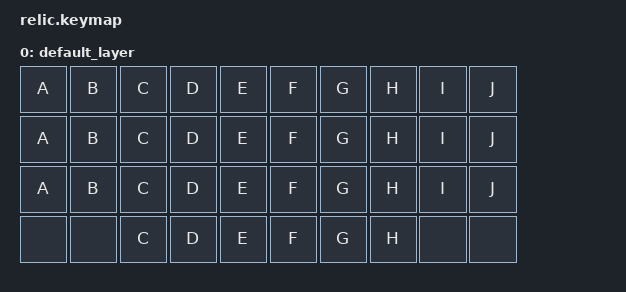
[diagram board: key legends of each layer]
// This file was generated from a template. Edit it to match your keyboard.
// See https://zmk.dev/docs/development/hardware-integration/new-shield for more instructions.

#include <behaviors.dtsi>
#include <dt-bindings/zmk/keys.h>

/ {
    // Define a default keymap here.
    // See https://zmk.dev/docs/development/hardware-integration/new-shield#default-keymap.
    keymap {
        compatible = "zmk,keymap";

        default_layer {
            bindings = <
                &kp A  &kp B  &kp C  &kp D  &kp E  &kp F  &kp G  &kp H  &kp I  &kp J
                &kp A  &kp B  &kp C  &kp D  &kp E  &kp F  &kp G  &kp H  &kp I  &kp J
                &kp A  &kp B  &kp C  &kp D  &kp E  &kp F  &kp G  &kp H  &kp I  &kp J
                &none  &none  &kp C  &kp D  &kp E  &kp F  &kp G  &kp H  &none  &none
            >;
        };

        fn_layer {
            status = "reserved";
        };

        num_layer {
            status = "reserved";
        };

        extra1 {
            status = "reserved";
        };

        extra2 {
            status = "reserved";
        };

        extra3 {
            status = "reserved";
        };
    };
};
